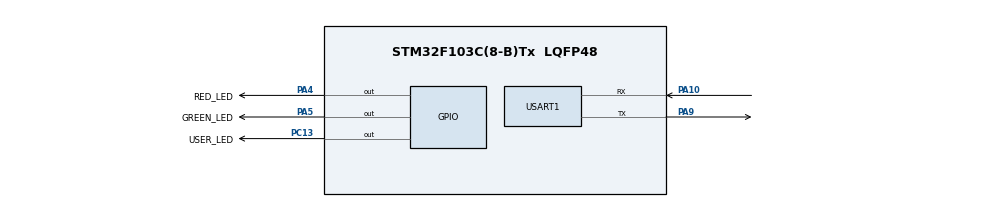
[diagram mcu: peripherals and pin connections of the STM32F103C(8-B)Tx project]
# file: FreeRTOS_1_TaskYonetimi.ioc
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FREERTOS.INCLUDE_eTaskGetState=1
FREERTOS.Tasks01=Task1,0,128,Task1_Function,Default,NULL,Dynamic,NULL,NULL
FREERTOS.configIDLE_SHOULD_YIELD=0
Mcu.Family=STM32F1
Mcu.Name=STM32F103C(8-B)Tx
Mcu.Package=LQFP48
NVIC.PriorityGroup=NVIC_PRIORITYGROUP_4
NVIC.TIM1_UP_IRQn=true\:0\:0\:false\:false\:true\:false\:false\:true
NVIC.TimeBase=TIM1_UP_IRQn
NVIC.TimeBaseIP=TIM1
PA10.Mode=Asynchronous
PA10.Signal=USART1_RX
PA13.Mode=Serial_Wire
PA13.Signal=SYS_JTMS-SWDIO
PA14.Mode=Serial_Wire
PA14.Signal=SYS_JTCK-SWCLK
PA4.GPIO_Label=RED_LED
PA4.Signal=GPIO_Output
PA5.GPIO_Label=GREEN_LED
PA5.Signal=GPIO_Output
PA9.Mode=Asynchronous
PA9.Signal=USART1_TX
PC13-TAMPER-RTC.GPIO_Label=USER_LED
PC13-TAMPER-RTC.Signal=GPIO_Output
PD0-OSC_IN.Mode=HSE-External-Oscillator
PD0-OSC_IN.Signal=RCC_OSC_IN
PD1-OSC_OUT.Mode=HSE-External-Oscillator
PD1-OSC_OUT.Signal=RCC_OSC_OUT
ProjectManager.HeapSize=0x200
ProjectManager.StackSize=0x400
ProjectManager.TargetToolchain=STM32CubeIDE
RCC.APB1Freq_Value=8000000
RCC.APB2Freq_Value=8000000
USART1.VirtualMode=VM_ASYNC
VP_FREERTOS_VS_CMSIS_V1.Mode=CMSIS_V1
VP_SYS_VS_tim1.Mode=TIM1
board=custom

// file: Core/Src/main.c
/* USER CODE BEGIN Header */
/**
  ******************************************************************************
  * @file           : main.c
  * @brief          : Main program body
  ******************************************************************************
  * @attention
  *
  * <h2><center>&copy; Copyright (c) 2020 STMicroelectronics.
  * All rights reserved.</center></h2>
  *
  * This software component is licensed by ST under Ultimate Liberty license
  * SLA0044, the "License"; You may not use this file except in compliance with
  * the License. You may obtain a copy of the License at:
  *                             www.st.com/SLA0044
  *
  ******************************************************************************
  */
/* USER CODE END Header */
#include "main.h"
#include "cmsis_os.h"

/* USER CODE BEGIN Includes */
#include "string.h"
/* USER CODE END Includes */

UART_HandleTypeDef huart1;
osThreadId Task1Handle;
/* USER CODE BEGIN PV */
osThreadId Task2Handle;

const char* Task2_message = "Hello from TASK2 \r\n";
/* USER CODE END PV */

void SystemClock_Config(void);
static void MX_GPIO_Init(void);
static void MX_USART1_UART_Init(void);
void Task1_Function(void const * argument);
void Task2_Function(void const * argument);

/* USER CODE BEGIN PFP */
void LedToggle(void);
void UartPrint(char* message);
/* USER CODE END PFP */

int main(void)
{

  /* MCU Configuration--------------------------------------------------------*/

  /* Reset of all peripherals, Initializes the Flash interface and the Systick. */
  HAL_Init();

  /* Configure the system clock */
  SystemClock_Config();

  /* Initialize all configured peripherals */
  MX_GPIO_Init();
  MX_USART1_UART_Init();

  /* Create the thread(s) */
  /* definition and creation of Task1 */
  osThreadDef(Task1, Task1_Function, osPriorityNormal, 0, 128);
  Task1Handle = osThreadCreate(osThread(Task1), NULL);

  /* USER CODE BEGIN RTOS_THREADS */

 /* UYGULAMA #1 */

  /*
   2 adet TASK olusturulmustur. TASK'lerin oncelikleri esit olarak ayarlanmistir.
   Task1 icerisinde LedToggle() fonksiyonu cagirilmaktadir. Task2 icerisinde ise UartPrint(message) fonksiyonu ile veri yollanmaktadir.
   Oncelikler esit oldugundan her 2 task de sikintisiz sekilde calismaktadir. TICK_RATE(1000Hz) oldugundan her 2 task'in de calisma suresi
   1ms araliklarladir. Eger herhangi bir TASK icerisindeki gorev 1ms'den fazla suruyorsa islem yarida birakilir ve diger yeniden o TASK isletilmeye
   basladiginda kaldigi yerden devam eder.

   Eger TASK'lerden birinin onceligi arttirilir yada azaltilirsa sadece en yuksek oncelikli TASK calismaya devam edicektir.
   */

//	 osThreadDef(Task2, Task2_Function, osPriorityAboveNormal, 0, 128);
//	 Task2Handle = osThreadCreate(osThread(Task2), (void*)Task2_message);

  /* UYGULAMA #2 */

   /*
    2 adet TASK olusturulmustur. TASK'lerin oncelikleri esit olarak ayarlanmistir.
    Task1 icerisinde LedToggle() fonksiyonu cagirilmaktadir. Task2 icerisinde ise UartPrint(message) fonksiyonu ile veri yollanmaktadir.
    Oncelikler esit oldugundan her 2 task de sikintisiz sekilde calismaktadir. Bu sefer her 2 TASK içerisinde de osDelay() kullanilmistir.
    Bu sebeple TASK'lerin oncelikleri ne olursa olsun 2 TASK'de calismaya devam edecektir.

    Eger Task1 dusuk oncelikli Task2 yuksek oncelikli yapilirsa ve Task1 icerisinde osDelay() olmaz fakat Task2 icerisinde osDelay() olursa,
    yuksek oncelikli Task2 osDelay() sebebiyle "Blocked" moda girecektir. Bu sebeple Task1 calisabilecektir.

    Fakat oncelikleri tam tersi yaparsak Task1 yuksek oncelikli, Task2 dusuk oncelikli olursa; TASK1 yuksek oncelikli oldugundan ve osDelay()
    barindirmadiginda "Blocked" moda gecis yapamayacak devamli "Running" modda calisacagindan Task2 calismayacaktir.

    */

   osThreadDef(Task2, Task2_Function, osPriorityAboveNormal, 0, 128);
   Task2Handle = osThreadCreate(osThread(Task2), (void*)Task2_message);

  /* UYGULAMA #3 */

  /* Eger configUSE_PREEMPTION 0 yapilirsa Kernel co-operative olarak calisacaktir. Co-operative modda TASK onceliklerinin bir onemi yoktur.
   * Eger TASK'ler arasi gecis yapilmak isteniyorsa ya taskYIELD() ile zorla context switch islemi yapilmalidir. Ya da "Running" modunda calisan
   * bir TASK'in "Blocked" moda gecis yapmasi gerekmektedir. Eger du durumlar olusmuyorsa Kernel ilk girdigi TASK'i calistirmaya devam eder.
   *
   * Uygulama sonucunda eger TASK'ler icerisinde osDelay() kullanilmazsa sistem ilk hangi TASK'e girerse o TASK'i devamli calistirir.
   * Fakat herhangi bir TASK'in icerisinde osDelay() kullandigimizda sistem diger TASK'e gecmektedir. Eger o TASK icerisinde de TASK'i "Running"
   * moddan "Blocked" moda gecirecek bir olay yok ise Kernel o TASK'i calistirmaya devam eder.
   *
   */

//     osThreadDef(Task2, Task2_Function, osPriorityNormal, 0, 128);
//     Task2Handle = osThreadCreate(osThread(Task2), (void*)Task2_message);

  /* add threads, ... */
  /* USER CODE END RTOS_THREADS */

  /* Start scheduler */
  osKernelStart();

  /* We should never get here as control is now taken by the scheduler */
  /* Infinite loop */
  while (1)
  {

  }
}

void SystemClock_Config(void)
{
  RCC_OscInitTypeDef RCC_OscInitStruct = {0};
  RCC_ClkInitTypeDef RCC_ClkInitStruct = {0};

  /** Initializes the RCC Oscillators according to the specified parameters
  * in the RCC_OscInitTypeDef structure.
  */
  RCC_OscInitStruct.OscillatorType = RCC_OSCILLATORTYPE_HSI;
  RCC_OscInitStruct.HSIState = RCC_HSI_ON;
  RCC_OscInitStruct.HSICalibrationValue = RCC_HSICALIBRATION_DEFAULT;
  RCC_OscInitStruct.PLL.PLLState = RCC_PLL_NONE;
  if (HAL_RCC_OscConfig(&RCC_OscInitStruct) != HAL_OK)
  {
    Error_Handler();
  }
  /** Initializes the CPU, AHB and APB buses clocks
  */
  RCC_ClkInitStruct.ClockType = RCC_CLOCKTYPE_HCLK|RCC_CLOCKTYPE_SYSCLK
                              |RCC_CLOCKTYPE_PCLK1|RCC_CLOCKTYPE_PCLK2;
  RCC_ClkInitStruct.SYSCLKSource = RCC_SYSCLKSOURCE_HSI;
  RCC_ClkInitStruct.AHBCLKDivider = RCC_SYSCLK_DIV1;
  RCC_ClkInitStruct.APB1CLKDivider = RCC_HCLK_DIV1;
  RCC_ClkInitStruct.APB2CLKDivider = RCC_HCLK_DIV1;

  if (HAL_RCC_ClockConfig(&RCC_ClkInitStruct, FLASH_LATENCY_0) != HAL_OK)
  {
    Error_Handler();
  }
}

static void MX_USART1_UART_Init(void)
{

  huart1.Instance = USART1;
  huart1.Init.BaudRate = 115200;
  huart1.Init.WordLength = UART_WORDLENGTH_8B;
  huart1.Init.StopBits = UART_STOPBITS_1;
  huart1.Init.Parity = UART_PARITY_NONE;
  huart1.Init.Mode = UART_MODE_TX_RX;
  huart1.Init.HwFlowCtl = UART_HWCONTROL_NONE;
  huart1.Init.OverSampling = UART_OVERSAMPLING_16;
  if (HAL_UART_Init(&huart1) != HAL_OK)
  {
    Error_Handler();
  }

}

static void MX_GPIO_Init(void)
{
  GPIO_InitTypeDef GPIO_InitStruct = {0};

  /* GPIO Ports Clock Enable */
  __HAL_RCC_GPIOC_CLK_ENABLE();
  __HAL_RCC_GPIOD_CLK_ENABLE();
  __HAL_RCC_GPIOA_CLK_ENABLE();

  /*Configure GPIO pin Output Level */
  HAL_GPIO_WritePin(USER_LED_GPIO_Port, USER_LED_Pin, GPIO_PIN_RESET);

  /*Configure GPIO pin Output Level */
  HAL_GPIO_WritePin(GPIOA, RED_LED_Pin|GREEN_LED_Pin, GPIO_PIN_RESET);

  /*Configure GPIO pin : USER_LED_Pin */
  GPIO_InitStruct.Pin = USER_LED_Pin;
  GPIO_InitStruct.Mode = GPIO_MODE_OUTPUT_PP;
  GPIO_InitStruct.Pull = GPIO_NOPULL;
  GPIO_InitStruct.Speed = GPIO_SPEED_FREQ_LOW;
  HAL_GPIO_Init(USER_LED_GPIO_Port, &GPIO_InitStruct);

  /*Configure GPIO pins : RED_LED_Pin GREEN_LED_Pin */
  GPIO_InitStruct.Pin = RED_LED_Pin|GREEN_LED_Pin;
  GPIO_InitStruct.Mode = GPIO_MODE_OUTPUT_PP;
  GPIO_InitStruct.Pull = GPIO_NOPULL;
  GPIO_InitStruct.Speed = GPIO_SPEED_FREQ_LOW;
  HAL_GPIO_Init(GPIOA, &GPIO_InitStruct);

}

/* USER CODE BEGIN 4 */

void Task2_Function(void const * argument)
{
  /* USER CODE BEGIN 5 */
  /* Infinite loop */
  for(;;)
  {
	  /*
	  // UYGULAMA #1
	  UartPrint((char*)argument);
	  */

	  // UYGULAMA #2
	  UartPrint((char*)argument);
	  osDelay(50);

  }
  /* USER CODE END 5 */
}

void LedToggle()
{
	HAL_GPIO_TogglePin(USER_LED_GPIO_Port, USER_LED_Pin);
}

void UartPrint(char* message)
{
	HAL_UART_Transmit(&huart1, (uint8_t*)message, strlen(message), 50);
}

/* USER CODE END 4 */

void Task1_Function(void const * argument)
{
  /* USER CODE BEGIN 5 */
  /* Infinite loop */
  for(;;)
  {
	  /*
	  // UYGULAMA #1
	  LedToggle();
	  */

	  // UYGULAMA #2
	  LedToggle();
	  osDelay(100);

  }
  /* USER CODE END 5 */
}

void HAL_TIM_PeriodElapsedCallback(TIM_HandleTypeDef *htim)
{
  if (htim->Instance == TIM1) {
    HAL_IncTick();
  }
}

void Error_Handler(void)
{
}

/************************ (C) COPYRIGHT STMicroelectronics *****END OF FILE****/
